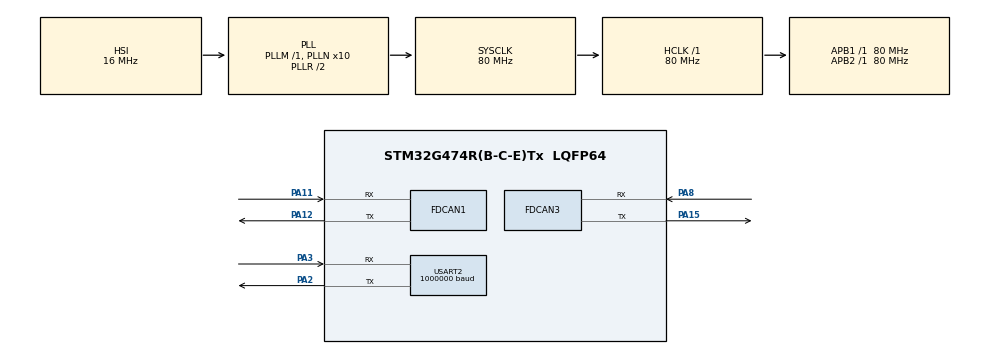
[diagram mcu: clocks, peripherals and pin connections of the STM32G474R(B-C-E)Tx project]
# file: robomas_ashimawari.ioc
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FDCAN1.CalculateBaudRateNominal=1000000
FDCAN1.CalculateTimeBitNominal=1000
FDCAN1.CalculateTimeQuantumNominal=50.0
FDCAN1.DataPrescaler=2
FDCAN1.DataTimeSeg1=15
FDCAN1.DataTimeSeg2=4
FDCAN1.FrameFormat=FDCAN_FRAME_FD_BRS
FDCAN1.NominalPrescaler=4
FDCAN1.NominalTimeSeg1=15
FDCAN1.NominalTimeSeg2=4
FDCAN1.StdFiltersNbr=1
FDCAN3.CalculateBaudRateNominal=1000000
FDCAN3.CalculateTimeBitNominal=1000
FDCAN3.CalculateTimeQuantumNominal=50.0
FDCAN3.DataPrescaler=2
FDCAN3.DataTimeSeg1=15
FDCAN3.DataTimeSeg2=4
FDCAN3.FrameFormat=FDCAN_FRAME_FD_BRS
FDCAN3.NominalPrescaler=4
FDCAN3.NominalTimeSeg1=15
FDCAN3.NominalTimeSeg2=4
FDCAN3.StdFiltersNbr=1
Mcu.Family=STM32G4
Mcu.Name=STM32G474R(B-C-E)Tx
Mcu.Package=LQFP64
NVIC.FDCAN1_IT0_IRQn=true\:0\:0\:false\:false\:true\:true\:true\:true
NVIC.FDCAN1_IT1_IRQn=true\:0\:0\:false\:false\:true\:true\:true\:true
NVIC.FDCAN3_IT0_IRQn=true\:0\:0\:false\:false\:true\:true\:true\:true
NVIC.FDCAN3_IT1_IRQn=true\:0\:0\:false\:false\:true\:true\:true\:true
NVIC.PriorityGroup=NVIC_PRIORITYGROUP_4
NVIC.TIM6_DAC_IRQn=true\:0\:0\:false\:false\:true\:true\:true\:true
NVIC.TIM7_DAC_IRQn=true\:0\:0\:false\:false\:true\:true\:true\:true
NVIC.USART2_IRQn=true\:0\:0\:false\:false\:true\:true\:true\:true
PA11.Mode=FDCAN_Activate
PA11.Signal=FDCAN1_RX
PA12.Mode=FDCAN_Activate
PA12.Signal=FDCAN1_TX
PA15.Mode=FDCAN_Activate
PA15.Signal=FDCAN3_TX
PA2.Mode=Asynchronous
PA2.Signal=USART2_TX
PA3.Mode=Asynchronous
PA3.Signal=USART2_RX
PA8.Mode=FDCAN_Activate
PA8.Signal=FDCAN3_RX
ProjectManager.HeapSize=0x200
ProjectManager.StackSize=0x400
ProjectManager.TargetToolchain=STM32CubeIDE
RCC.ADC12Freq_Value=80000000
RCC.ADC345Freq_Value=80000000
RCC.AHBFreq_Value=80000000
RCC.APB1Freq_Value=80000000
RCC.APB1TimFreq_Value=80000000
RCC.APB2Freq_Value=80000000
RCC.APB2TimFreq_Value=80000000
RCC.CortexFreq_Value=80000000
RCC.EXTERNAL_CLOCK_VALUE=12288000
RCC.HCLKFreq_Value=80000000
RCC.HSE_VALUE=8000000
RCC.HSI48_VALUE=48000000
RCC.HSI_VALUE=16000000
RCC.LSE_VALUE=32768
RCC.PLLN=10
RCC.SYSCLKFreq_VALUE=80000000
RCC.SYSCLKSource=RCC_SYSCLKSOURCE_PLLCLK
RCC.USBFreq_Value=80000000
RCC.VCOOutputFreq_Value=160000000
TIM6.PeriodNoDither=7999
TIM6.Prescaler=9
TIM7.PeriodNoDither=39999
TIM7.Prescaler=19999
USART2.BaudRate=1000000
USART2.VirtualMode-Asynchronous=VM_ASYNC
VP_SYS_VS_DBSignals.Mode=DisableDeadBatterySignals
VP_TIM6_VS_ClockSourceINT.Mode=Enable_Timer
VP_TIM7_VS_ClockSourceINT.Mode=Enable_Timer
board=custom

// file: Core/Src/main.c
/* USER CODE BEGIN Header */
/**
  ******************************************************************************
  * @file           : main.c
  * @brief          : Main program body
  ******************************************************************************
  * @attention
  *
  * Copyright (c) 2024 STMicroelectronics.
  * All rights reserved.
  *
  * This software is licensed under terms that can be found in the LICENSE file
  * in the root directory of this software component.
  * If no LICENSE file comes with this software, it is provided AS-IS.
  *
  ******************************************************************************
  */
/* USER CODE END Header */
#include "main.h"

/* USER CODE BEGIN Includes */
#include <stdio.h>
#include <math.h>
/* USER CODE END Includes */

/* USER CODE BEGIN PTD */
typedef struct{
	uint16_t CANID;
	uint8_t motorID;
	int16_t trgVel;
	volatile int16_t actVel;
	volatile int16_t p_actVel;
	volatile int16_t cu;
	double angle;
	int16_t actCurrent;
	float hensa;
	float ind;
}motor;
/* USER CODE END PTD */

/* USER CODE BEGIN PD */
#define R_F 4
#define L_F 3
#define R_B 1
#define L_B 2

#define PI 3.141

/* USER CODE END PD */

FDCAN_HandleTypeDef hfdcan1;
FDCAN_HandleTypeDef hfdcan3;

TIM_HandleTypeDef htim6;
TIM_HandleTypeDef htim7;

UART_HandleTypeDef huart2;

/* USER CODE BEGIN PV */
const float a0 = PI/180*45;
const float a1 = PI/180*135;
const float a2 = PI/180*225;
const float a3 = PI/180*315;
const float r = 0.03;
const float R = 0.20;

FDCAN_TxHeaderTypeDef TxHeader;
FDCAN_RxHeaderTypeDef RxHeader;
FDCAN_TxHeaderTypeDef TxHeader_motor;
FDCAN_RxHeaderTypeDef RxHeader_motor;
FDCAN_FilterTypeDef sFilterConfig;

uint8_t TxData[8] = {};
uint8_t RxData[8] = {};
uint8_t TxData_motor[8] = {};
uint8_t RxData_motor[8] = {};
uint32_t TxMailbox;

volatile int16_t vel_x = 0, vel_y = 0;

volatile int16_t purpose = 64;
motor robomas[4] = {
		{0x201, 1, 0, 0, 0, 0, 0, 0, 0, 0},
		{0x202, 2, 0, 0, 0, 0, 0, 0, 0, 0},
		{0x203, 3, 0, 0, 0, 0, 0, 0, 0, 0},
		{0x204, 4, 0, 0, 0, 0, 0, 0, 0, 0}
};

volatile float k_p = 7, k_i = 0.5, k_d = 0.0001;
volatile float vx = 0, vy = 0, omega = 0;

int16_t count = 1;
/* USER CODE END PV */

void SystemClock_Config(void);
static void MX_GPIO_Init(void);
static void MX_FDCAN3_Init(void);
static void MX_TIM6_Init(void);
static void MX_USART2_UART_Init(void);
static void MX_TIM7_Init(void);
static void MX_FDCAN1_Init(void);

/* USER CODE BEGIN 0 */
void HAL_TIM_PeriodElapsedCallback(TIM_HandleTypeDef *htim){
	if(htim == &htim6){

		for (int i=0; i<=3; i++){
			robomas[i].hensa = robomas[i].trgVel - robomas[i].actVel;
			if (robomas[i].hensa >= 1000) robomas[i].hensa = 1000;
			else if (robomas[i].hensa <= -1000) robomas[i].hensa = -1000;
			float d = (robomas[i].actVel - robomas[i].p_actVel) / 0.001;
			robomas[i].ind += robomas[i].hensa*0.1;
			if (d >= 30000) d = 30000;
			else if (d <= -30000) d = -30000;
			if (robomas[i].ind >= 10000) robomas[i].ind = 10000;
			else if (robomas[i].ind <= -10000) robomas[i].ind = -10000;

			float t = k_p*robomas[i].hensa;
			if (t>=10000) t = 10000;
			else if (t<=-10000) t = -10000;
			robomas[i].cu = (int16_t)(t+k_i*robomas[i].ind+k_d*d);
			if (robomas[i].cu <= -10000) robomas[i].cu = -10000;
			else if (robomas[i].cu >= 10000) robomas[i].cu = 10000;

			TxData_motor[i*2] = (robomas[i].cu) >> 8;
			TxData_motor[i*2+1] = (uint8_t)((robomas[i].cu) & 0xff);
			robomas[i].p_actVel = robomas[i].actVel;
		}
		if (HAL_FDCAN_AddMessageToTxFifoQ(&hfdcan3, &TxHeader_motor, TxData_motor) != HAL_OK){
			printf("addmassage is error\r\n");
			Error_Handler();
		}
	}

	if(htim == &htim7){
		if (count == -1) {
			robomas[R_F-1].trgVel *= -1;
			robomas[L_B-1].trgVel *= -1;
		}
		if (count == 1) {
			robomas[R_B-1].trgVel *= -1;
			robomas[L_F-1].trgVel *= -1;
		}
		count *= -1;
	}
}

void HAL_FDCAN_RxFifo0Callback(FDCAN_HandleTypeDef *hfdcan, uint32_t RxFifo0ITs){
	if ((RxFifo0ITs & FDCAN_IT_RX_FIFO0_NEW_MESSAGE) != RESET) {

	        /* Retrieve Rx messages from RX FIFO0 */
		if (HAL_FDCAN_GetRxMessage(&hfdcan3, FDCAN_RX_FIFO0, &RxHeader_motor, RxData_motor) != HAL_OK) {
			printf("fdcan_getrxmessage_motor is error\r\n");
			Error_Handler();
		}
		for (int i=0; i<=3;i++){
			if (RxHeader_motor.Identifier == (robomas[i].CANID)) {
				robomas[i].angle = (int16_t)((RxData_motor[0] << 8) | RxData_motor[1]);
				robomas[i].actVel = (int16_t)((RxData_motor[2] << 8) | RxData_motor[3]);
				robomas[i].actCurrent = (int16_t)((RxData_motor[4] << 8) | RxData_motor[5]);
			}
		}

	}

}

void HAL_FDCAN_RxFifo1Callback(FDCAN_HandleTypeDef *hfdcan, uint32_t RxFifo1ITs){
	if ((RxFifo1ITs & FDCAN_IT_RX_FIFO1_NEW_MESSAGE) != RESET) {

	        /* Retrieve Rx messages from RX FIFO0 */

		if (HAL_FDCAN_GetRxMessage(&hfdcan1, FDCAN_RX_FIFO1, &RxHeader, RxData) != HAL_OK) {
			printf("fdcan_getrxmessage is error\r\n");
			Error_Handler();
		}

		if (RxHeader.Identifier == 0x300) {
			vel_x = (int8_t)RxData[0];
			vel_y = (int8_t)RxData[1];

		}
		if (RxHeader.Identifier == 0x301) {
			if ((int8_t)RxData[1] == 1) {
				vel_x = 0;
				vel_y = 0;
			}
		}

	}
}

void FDCAN_RxTxSettings(void){
	FDCAN_FilterTypeDef FDCAN_Filter_settings;
	FDCAN_Filter_settings.IdType = FDCAN_STANDARD_ID;
	FDCAN_Filter_settings.FilterIndex = 0;
	FDCAN_Filter_settings.FilterType = FDCAN_FILTER_RANGE;
	FDCAN_Filter_settings.FilterConfig = FDCAN_FILTER_TO_RXFIFO1;
	FDCAN_Filter_settings.FilterID1 = 0x200;
	FDCAN_Filter_settings.FilterID2 = 0x310;

	TxHeader.Identifier = 0x000;
	TxHeader.IdType = FDCAN_STANDARD_ID;
	TxHeader.TxFrameType = FDCAN_DATA_FRAME;
	TxHeader.DataLength = FDCAN_DLC_BYTES_8;
	TxHeader.ErrorStateIndicator = FDCAN_ESI_ACTIVE;
	TxHeader.BitRateSwitch = FDCAN_BRS_ON;
	TxHeader.FDFormat = FDCAN_FD_CAN;
	TxHeader.TxEventFifoControl = FDCAN_NO_TX_EVENTS;
	TxHeader.MessageMarker = 0;

	if (HAL_FDCAN_ConfigFilter(&hfdcan1, &FDCAN_Filter_settings) != HAL_OK){
		printf("fdcan_configfilter is error\r\n");
		Error_Handler();
	}

	if (HAL_FDCAN_ConfigGlobalFilter(&hfdcan1, FDCAN_REJECT, FDCAN_FILTER_REJECT, FDCAN_FILTER_REMOTE, FDCAN_FILTER_REMOTE) != HAL_OK){
		printf("fdcan_configglobalfilter is error\r\n");
		Error_Handler();
	}

	if (HAL_FDCAN_Start(&hfdcan1) != HAL_OK) {
		printf("fdcan_start is error\r\n");
		Error_Handler();
	}

	if (HAL_FDCAN_ActivateNotification(&hfdcan1, FDCAN_IT_RX_FIFO1_NEW_MESSAGE, 0) != HAL_OK){
		printf("fdcan_activatenotification is error\r\n");
		Error_Handler();
	}
}

void FDCAN_motor_RxTxSettings(void) {
	FDCAN_FilterTypeDef FDCAN_Filter_settings_motor;
	FDCAN_Filter_settings_motor.IdType = FDCAN_STANDARD_ID;
	FDCAN_Filter_settings_motor.FilterIndex = 0;
	FDCAN_Filter_settings_motor.FilterType = FDCAN_FILTER_RANGE;
	FDCAN_Filter_settings_motor.FilterConfig = FDCAN_FILTER_TO_RXFIFO0;
	FDCAN_Filter_settings_motor.FilterID1 = 0x200;
	FDCAN_Filter_settings_motor.FilterID2 = 0x210;

	TxHeader_motor.Identifier = 0x200;
	TxHeader_motor.IdType = FDCAN_STANDARD_ID;
	TxHeader_motor.TxFrameType = FDCAN_DATA_FRAME;
	TxHeader_motor.DataLength = FDCAN_DLC_BYTES_8;
	TxHeader_motor.ErrorStateIndicator = FDCAN_ESI_ACTIVE;
	TxHeader_motor.BitRateSwitch = FDCAN_BRS_OFF;
	TxHeader_motor.FDFormat = FDCAN_CLASSIC_CAN;
	TxHeader_motor.TxEventFifoControl = FDCAN_NO_TX_EVENTS;
	TxHeader_motor.MessageMarker = 0;

	if (HAL_FDCAN_ConfigFilter(&hfdcan3, &FDCAN_Filter_settings_motor) != HAL_OK){
		printf("fdcan_configfilter is error\r\n");
		Error_Handler();
	}

	if (HAL_FDCAN_ConfigGlobalFilter(&hfdcan3, FDCAN_REJECT, FDCAN_FILTER_REJECT, FDCAN_FILTER_REMOTE, FDCAN_FILTER_REMOTE)){
		printf("fdcan_configglobalfilter is error\r\n");
		Error_Handler();
	}

	if (HAL_FDCAN_Start(&hfdcan3) != HAL_OK) {
		printf("fdcan_start is error\r\n");
		Error_Handler();
	}

	if (HAL_FDCAN_ActivateNotification(&hfdcan3, FDCAN_IT_RX_FIFO0_NEW_MESSAGE, 0) != HAL_OK){
		printf("fdcan_activatenotification is error\r\n");
		Error_Handler();
	}
}

void omni_calc(float theta,float vx,float vy,float omega,float *w0,float *w1,float *w2,float *w3){

	float v[3] = {vx, vy, omega};
	float sint = sin(theta);
	float cost = cos(theta);

	float arr[4][3] =
	{{-cos(a0)*sint-sin(a0)*cost, cos(a0)*cost-sin(a0)*sint, R},
	{-cos(a1)*sint-sin(a1)*cost, cos(a1)*cost-sin(a1)*sint, R},
	{-cos(a2)*sint-sin(a2)*cost, cos(a2)*cost-sin(a2)*sint, R},
	{-cos(a3)*sint-sin(a3)*cost, cos(a3)*cost-sin(a3)*sint, R}};

	*w0 = (arr[0][0] * v[0] + arr[0][1] * v[1] + arr[0][2] * v[2]) / r;
	*w1 = (arr[1][0] * v[0] + arr[1][1] * v[1] + arr[1][2] * v[2]) / r;
	*w2 = (arr[2][0] * v[0] + arr[2][1] * v[1] + arr[2][2] * v[2]) / r;
	*w3 = (arr[3][0] * v[0] + arr[3][1] * v[1] + arr[3][2] * v[2]) / r;
}

int _write(int file, char *ptr, int len)
{
    HAL_UART_Transmit(&huart2,(uint8_t *)ptr,len,10);
    return len;
}
/* USER CODE END 0 */

int main(void)
{

  /* USER CODE BEGIN 1 */
	setbuf(stdout, NULL);

  /* USER CODE END 1 */

  /* MCU Configuration--------------------------------------------------------*/

  /* Reset of all peripherals, Initializes the Flash interface and the Systick. */
  HAL_Init();

  /* Configure the system clock */
  SystemClock_Config();

  /* Initialize all configured peripherals */
  MX_GPIO_Init();
  MX_FDCAN3_Init();
  MX_TIM6_Init();
  MX_USART2_UART_Init();
  MX_TIM7_Init();
  MX_FDCAN1_Init();
  /* USER CODE BEGIN 2 */
  printf("start\r\n");

  FDCAN_motor_RxTxSettings();
  printf("can_motor_start\r\n");
  FDCAN_RxTxSettings();
  printf("can_main_start\r\n");

/*
  robomas[0].trgVel = (int)(-purpose * 36);
  robomas[1].trgVel = (int)(purpose * 36);
  robomas[2].trgVel =  (int)(-purpose * 36);
  robomas[3].trgVel = (int)(purpose * 36);
*/

  float w[4] = {0, 0, 0, 0};
  vx = 0;
  vy = 0;
  omega = 0;

  HAL_TIM_Base_Start_IT(&htim6);
//  HAL_TIM_Base_Start_IT(&htim7);

  /* USER CODE END 2 */

  /* Infinite loop */
  /* USER CODE BEGIN WHILE */
  while (1)
  {
	  /*
	  if (vel_x < 10 && vel_x > -10){
		  vel_x = 0;
	  }
	  if (vel_y < 10 && vel_y > -10){
		  vel_y = 0;
	  }
	  vx = vel_x*0.01;
	  vy = vel_y*0.01;
	  omni_calc(0 ,vx, vy, omega, &w[R_F-1], &w[L_F-1], &w[L_B-1], &w[R_B-1]);
	  robomas[R_F-1].trgVel = -36*30;
	  robomas[R_B-1].trgVel = -36*30;
	  robomas[L_F-1].trgVel = 36*30;
	  robomas[L_B-1].trgVel = 36*30;*/
	  robomas[0].trgVel = 36*60;
	  robomas[1].trgVel = -36*90;
	  robomas[2].trgVel = -36*90;

	  printf("act:%d,(%d,%d)\r\n", robomas[0].actVel, vel_x, vel_y);
	  HAL_Delay(1);
    /* USER CODE END WHILE */

  }
}

void SystemClock_Config(void)
{
  RCC_OscInitTypeDef RCC_OscInitStruct = {0};
  RCC_ClkInitTypeDef RCC_ClkInitStruct = {0};

  /** Configure the main internal regulator output voltage
  */
  HAL_PWREx_ControlVoltageScaling(PWR_REGULATOR_VOLTAGE_SCALE1);

  /** Initializes the RCC Oscillators according to the specified parameters
  * in the RCC_OscInitTypeDef structure.
  */
  RCC_OscInitStruct.OscillatorType = RCC_OSCILLATORTYPE_HSI;
  RCC_OscInitStruct.HSIState = RCC_HSI_ON;
  RCC_OscInitStruct.HSICalibrationValue = RCC_HSICALIBRATION_DEFAULT;
  RCC_OscInitStruct.PLL.PLLState = RCC_PLL_ON;
  RCC_OscInitStruct.PLL.PLLSource = RCC_PLLSOURCE_HSI;
  RCC_OscInitStruct.PLL.PLLM = RCC_PLLM_DIV1;
  RCC_OscInitStruct.PLL.PLLN = 10;
  RCC_OscInitStruct.PLL.PLLP = RCC_PLLP_DIV2;
  RCC_OscInitStruct.PLL.PLLQ = RCC_PLLQ_DIV2;
  RCC_OscInitStruct.PLL.PLLR = RCC_PLLR_DIV2;
  if (HAL_RCC_OscConfig(&RCC_OscInitStruct) != HAL_OK)
  {
    Error_Handler();
  }

  /** Initializes the CPU, AHB and APB buses clocks
  */
  RCC_ClkInitStruct.ClockType = RCC_CLOCKTYPE_HCLK|RCC_CLOCKTYPE_SYSCLK
                              |RCC_CLOCKTYPE_PCLK1|RCC_CLOCKTYPE_PCLK2;
  RCC_ClkInitStruct.SYSCLKSource = RCC_SYSCLKSOURCE_PLLCLK;
  RCC_ClkInitStruct.AHBCLKDivider = RCC_SYSCLK_DIV1;
  RCC_ClkInitStruct.APB1CLKDivider = RCC_HCLK_DIV1;
  RCC_ClkInitStruct.APB2CLKDivider = RCC_HCLK_DIV1;

  if (HAL_RCC_ClockConfig(&RCC_ClkInitStruct, FLASH_LATENCY_2) != HAL_OK)
  {
    Error_Handler();
  }
}

static void MX_FDCAN1_Init(void)
{

  hfdcan1.Instance = FDCAN1;
  hfdcan1.Init.ClockDivider = FDCAN_CLOCK_DIV1;
  hfdcan1.Init.FrameFormat = FDCAN_FRAME_FD_BRS;
  hfdcan1.Init.Mode = FDCAN_MODE_NORMAL;
  hfdcan1.Init.AutoRetransmission = DISABLE;
  hfdcan1.Init.TransmitPause = DISABLE;
  hfdcan1.Init.ProtocolException = DISABLE;
  hfdcan1.Init.NominalPrescaler = 4;
  hfdcan1.Init.NominalSyncJumpWidth = 1;
  hfdcan1.Init.NominalTimeSeg1 = 15;
  hfdcan1.Init.NominalTimeSeg2 = 4;
  hfdcan1.Init.DataPrescaler = 2;
  hfdcan1.Init.DataSyncJumpWidth = 1;
  hfdcan1.Init.DataTimeSeg1 = 15;
  hfdcan1.Init.DataTimeSeg2 = 4;
  hfdcan1.Init.StdFiltersNbr = 1;
  hfdcan1.Init.ExtFiltersNbr = 0;
  hfdcan1.Init.TxFifoQueueMode = FDCAN_TX_FIFO_OPERATION;
  if (HAL_FDCAN_Init(&hfdcan1) != HAL_OK)
  {
    Error_Handler();
  }

}

static void MX_FDCAN3_Init(void)
{

  hfdcan3.Instance = FDCAN3;
  hfdcan3.Init.ClockDivider = FDCAN_CLOCK_DIV1;
  hfdcan3.Init.FrameFormat = FDCAN_FRAME_FD_BRS;
  hfdcan3.Init.Mode = FDCAN_MODE_NORMAL;
  hfdcan3.Init.AutoRetransmission = DISABLE;
  hfdcan3.Init.TransmitPause = DISABLE;
  hfdcan3.Init.ProtocolException = DISABLE;
  hfdcan3.Init.NominalPrescaler = 4;
  hfdcan3.Init.NominalSyncJumpWidth = 1;
  hfdcan3.Init.NominalTimeSeg1 = 15;
  hfdcan3.Init.NominalTimeSeg2 = 4;
  hfdcan3.Init.DataPrescaler = 2;
  hfdcan3.Init.DataSyncJumpWidth = 1;
  hfdcan3.Init.DataTimeSeg1 = 15;
  hfdcan3.Init.DataTimeSeg2 = 4;
  hfdcan3.Init.StdFiltersNbr = 1;
  hfdcan3.Init.ExtFiltersNbr = 0;
  hfdcan3.Init.TxFifoQueueMode = FDCAN_TX_FIFO_OPERATION;
  if (HAL_FDCAN_Init(&hfdcan3) != HAL_OK)
  {
    Error_Handler();
  }

}

static void MX_TIM6_Init(void)
{

  TIM_MasterConfigTypeDef sMasterConfig = {0};

  htim6.Instance = TIM6;
  htim6.Init.Prescaler = 9;
  htim6.Init.CounterMode = TIM_COUNTERMODE_UP;
  htim6.Init.Period = 7999;
  htim6.Init.AutoReloadPreload = TIM_AUTORELOAD_PRELOAD_DISABLE;
  if (HAL_TIM_Base_Init(&htim6) != HAL_OK)
  {
    Error_Handler();
  }
  sMasterConfig.MasterOutputTrigger = TIM_TRGO_RESET;
  sMasterConfig.MasterSlaveMode = TIM_MASTERSLAVEMODE_DISABLE;
  if (HAL_TIMEx_MasterConfigSynchronization(&htim6, &sMasterConfig) != HAL_OK)
  {
    Error_Handler();
  }

}

static void MX_TIM7_Init(void)
{

  TIM_MasterConfigTypeDef sMasterConfig = {0};

  htim7.Instance = TIM7;
  htim7.Init.Prescaler = 19999;
  htim7.Init.CounterMode = TIM_COUNTERMODE_UP;
  htim7.Init.Period = 39999;
  htim7.Init.AutoReloadPreload = TIM_AUTORELOAD_PRELOAD_DISABLE;
  if (HAL_TIM_Base_Init(&htim7) != HAL_OK)
  {
    Error_Handler();
  }
  sMasterConfig.MasterOutputTrigger = TIM_TRGO_RESET;
  sMasterConfig.MasterSlaveMode = TIM_MASTERSLAVEMODE_DISABLE;
  if (HAL_TIMEx_MasterConfigSynchronization(&htim7, &sMasterConfig) != HAL_OK)
  {
    Error_Handler();
  }

}

static void MX_USART2_UART_Init(void)
{

  huart2.Instance = USART2;
  huart2.Init.BaudRate = 1000000;
  huart2.Init.WordLength = UART_WORDLENGTH_8B;
  huart2.Init.StopBits = UART_STOPBITS_1;
  huart2.Init.Parity = UART_PARITY_NONE;
  huart2.Init.Mode = UART_MODE_TX_RX;
  huart2.Init.HwFlowCtl = UART_HWCONTROL_NONE;
  huart2.Init.OverSampling = UART_OVERSAMPLING_16;
  huart2.Init.OneBitSampling = UART_ONE_BIT_SAMPLE_DISABLE;
  huart2.Init.ClockPrescaler = UART_PRESCALER_DIV1;
  huart2.AdvancedInit.AdvFeatureInit = UART_ADVFEATURE_NO_INIT;
  if (HAL_UART_Init(&huart2) != HAL_OK)
  {
    Error_Handler();
  }
  if (HAL_UARTEx_SetTxFifoThreshold(&huart2, UART_TXFIFO_THRESHOLD_1_8) != HAL_OK)
  {
    Error_Handler();
  }
  if (HAL_UARTEx_SetRxFifoThreshold(&huart2, UART_RXFIFO_THRESHOLD_1_8) != HAL_OK)
  {
    Error_Handler();
  }
  if (HAL_UARTEx_DisableFifoMode(&huart2) != HAL_OK)
  {
    Error_Handler();
  }

}

static void MX_GPIO_Init(void)
{

  /* GPIO Ports Clock Enable */
  __HAL_RCC_GPIOA_CLK_ENABLE();

}

void Error_Handler(void)
{
  /* USER CODE BEGIN Error_Handler_Debug */
  /* User can add his own implementation to report the HAL error return state */
  __disable_irq();
  printf("Error\r\n");
  while (1)
  {
  }
  /* USER CODE END Error_Handler_Debug */
}
